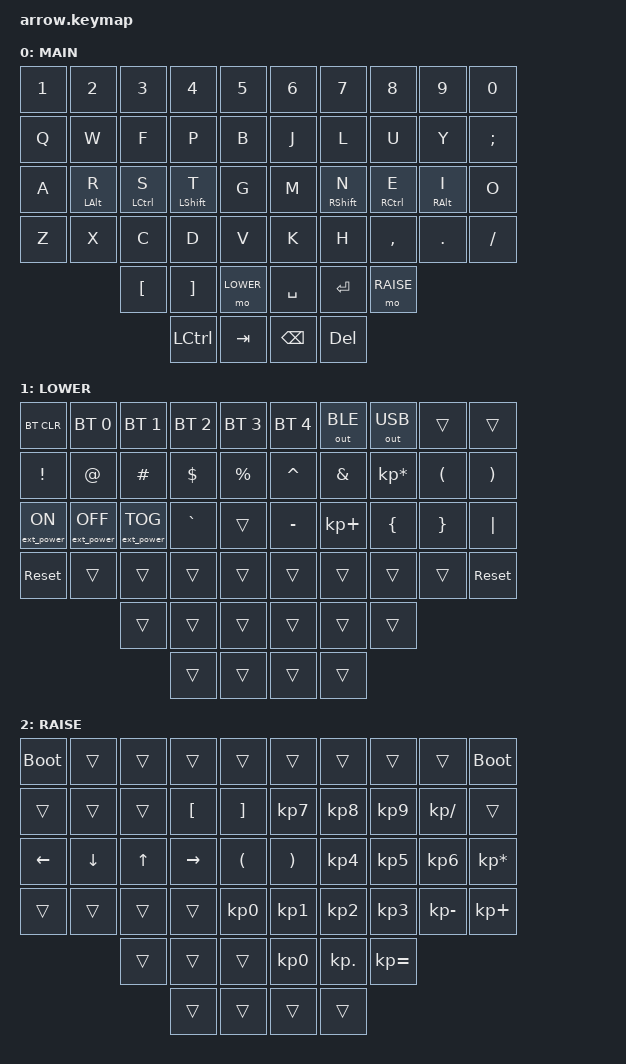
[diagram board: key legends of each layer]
/*
 * Copyright (c) 2020 The ZMK Contributors
 *
 * SPDX-License-Identifier: MIT
 */

#include <behaviors.dtsi>
#include <dt-bindings/zmk/bt.h>
#include <dt-bindings/zmk/ext_power.h>
#include <dt-bindings/zmk/keys.h>
#include <dt-bindings/zmk/outputs.h>

#define MAIN 0
#define LOWER 1
#define RAISE 2

/ {
    keymap {
        compatible = "zmk,keymap";

        default_layer {
            display-name = "MAIN";
            bindings = <
&kp N1  &kp N2          &kp N3       &kp N4            &kp N5     &kp N6         &kp N7             &kp N8       &kp N9           &kp N0
&kp Q   &kp W           &kp F        &kp P             &kp B      &kp J          &kp L              &kp U        &kp Y            &kp SEMICOLON
&kp A   &mt LEFT_ALT R  &mt LCTRL S  &mt LEFT_SHIFT T  &kp G      &kp M          &mt RIGHT_SHIFT N  &mt RCTRL E  &mt RIGHT_ALT I  &kp O
&kp Z   &kp X           &kp C        &kp D             &kp V      &kp K          &kp H              &kp COMMA    &kp DOT          &kp FSLH
                        &kp LBKT     &kp RBKT          &mo LOWER  &kp SPACE      &kp ENTER          &mo RAISE
                                     &kp LCTRL         &kp TAB    &kp BACKSPACE  &kp DELETE
            >;
        };

        lower_layer {
            display-name = "LOWER";
            bindings = <
&bt BT_CLR        &bt BT_SEL 0       &bt BT_SEL 1       &bt BT_SEL 2  &bt BT_SEL 3  &bt BT_SEL 4  &out OUT_BLE  &out OUT_USB     &trans    &trans
&kp EXCL          &kp AT             &kp HASH           &kp DOLLAR    &kp PRCNT     &kp CARET     &kp AMPS      &kp KP_MULTIPLY  &kp LPAR  &kp RPAR
&ext_power EP_ON  &ext_power EP_OFF  &ext_power EP_TOG  &kp GRAVE     &trans        &kp MINUS     &kp KP_PLUS   &kp LBRC         &kp RBRC  &kp PIPE
&sys_reset        &trans             &trans             &trans        &trans        &trans        &trans        &trans           &trans    &sys_reset
                                     &trans             &trans        &trans        &trans        &trans        &trans
                                                        &trans        &trans        &trans        &trans
            >;
        };

        raise_layer {
            display-name = "RAISE";
            bindings = <
&bootloader  &trans    &trans  &trans     &trans     &trans     &trans      &trans        &trans         &bootloader
&trans       &trans    &trans  &kp LBKT   &kp RBKT   &kp KP_N7  &kp KP_N8   &kp KP_N9     &kp KP_DIVIDE  &trans
&kp LEFT     &kp DOWN  &kp UP  &kp RIGHT  &kp LPAR   &kp RPAR   &kp KP_N4   &kp KP_N5     &kp KP_N6      &kp KP_MULTIPLY
&trans       &trans    &trans  &trans     &kp KP_N0  &kp KP_N1  &kp KP_N2   &kp KP_N3     &kp KP_MINUS   &kp KP_PLUS
                       &trans  &trans     &trans     &kp KP_N0  &kp KP_DOT  &kp KP_EQUAL
                               &trans     &trans     &trans     &trans
            >;
        };
    };
};
